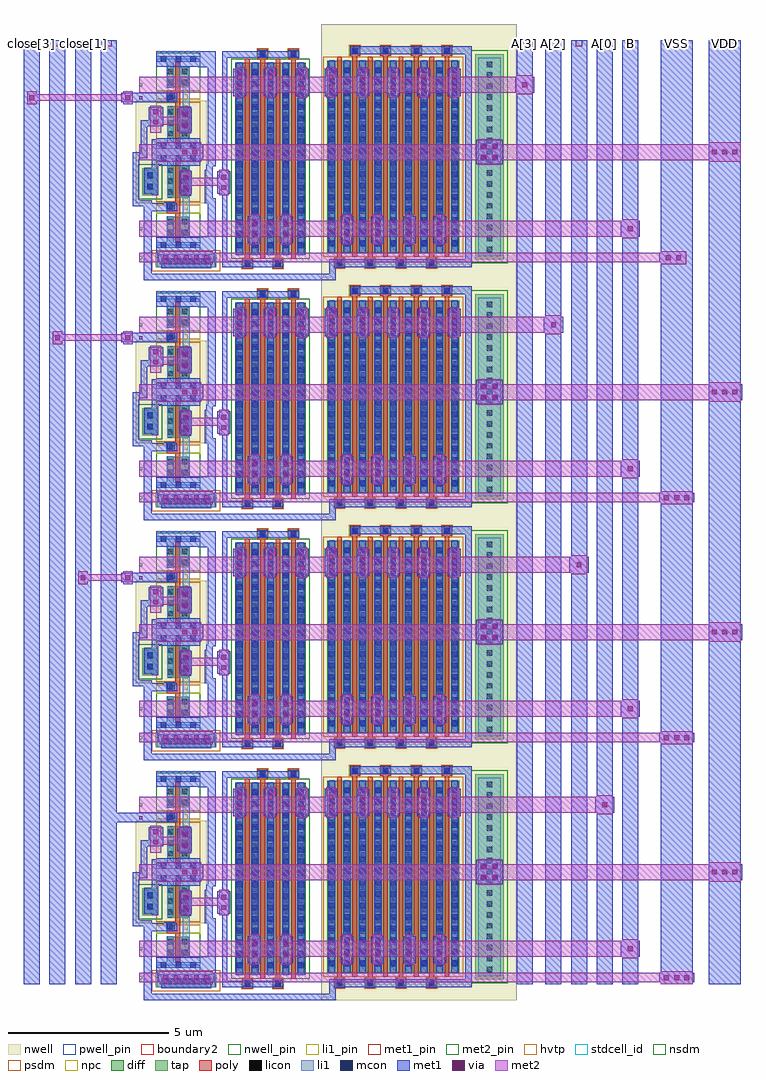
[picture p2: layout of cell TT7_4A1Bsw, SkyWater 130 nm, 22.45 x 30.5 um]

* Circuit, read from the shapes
.subckt TT7_4A1Bsw A[0] A[1] A[2] A[3] B VDD VSS close[0] close[1] close[2] close[3]
XM1 TT7_sw_2/sky130_fd_sc_hd__inv_1_1/Y TT7_sw_2/sky130_fd_sc_hd__inv_1_1/A VSS VSS sky130_fd_pr__nfet_01v8 w=0.65 l=0.15
XM2 TT7_sw_2/sky130_fd_sc_hd__inv_1_1/A close[0] VSS VSS sky130_fd_pr__nfet_01v8 w=0.65 l=0.15
XM3 TT7_sw_1/sky130_fd_sc_hd__inv_1_1/Y TT7_sw_1/sky130_fd_sc_hd__inv_1_1/A VSS VSS sky130_fd_pr__nfet_01v8 w=0.65 l=0.15
XM4 TT7_sw_1/sky130_fd_sc_hd__inv_1_1/A close[1] VSS VSS sky130_fd_pr__nfet_01v8 w=0.65 l=0.15
XM5 TT7_sw_0/sky130_fd_sc_hd__inv_1_1/Y TT7_sw_0/sky130_fd_sc_hd__inv_1_1/A VSS VSS sky130_fd_pr__nfet_01v8 w=0.65 l=0.15
XM6 TT7_sw_0/sky130_fd_sc_hd__inv_1_1/A close[2] VSS VSS sky130_fd_pr__nfet_01v8 w=0.65 l=0.15
XM7 TT7_sw_3/sky130_fd_sc_hd__inv_1_1/Y TT7_sw_3/sky130_fd_sc_hd__inv_1_1/A VSS VSS sky130_fd_pr__nfet_01v8 w=0.65 l=0.15
XM8 TT7_sw_3/sky130_fd_sc_hd__inv_1_1/A close[3] VSS VSS sky130_fd_pr__nfet_01v8 w=0.65 l=0.15
XM9 B TT7_sw_2/sky130_fd_sc_hd__inv_1_1/Y A[0] VSS sky130_fd_pr__nfet_01v8 w=6 l=0.15 m=4
XM10 B TT7_sw_1/sky130_fd_sc_hd__inv_1_1/Y A[1] VSS sky130_fd_pr__nfet_01v8 w=6 l=0.15 m=4
XM11 B TT7_sw_0/sky130_fd_sc_hd__inv_1_1/Y A[2] VSS sky130_fd_pr__nfet_01v8 w=6 l=0.15 m=4
XM12 B TT7_sw_3/sky130_fd_sc_hd__inv_1_1/Y A[3] VSS sky130_fd_pr__nfet_01v8 w=6 l=0.15 m=4
XM13 TT7_sw_2/sky130_fd_sc_hd__inv_1_1/Y TT7_sw_2/sky130_fd_sc_hd__inv_1_1/A VDD VDD sky130_fd_pr__pfet_01v8_hvt w=1 l=0.15
XM14 TT7_sw_2/sky130_fd_sc_hd__inv_1_1/A close[0] VDD VDD sky130_fd_pr__pfet_01v8_hvt w=1 l=0.15
XM15 TT7_sw_1/sky130_fd_sc_hd__inv_1_1/Y TT7_sw_1/sky130_fd_sc_hd__inv_1_1/A VDD VDD sky130_fd_pr__pfet_01v8_hvt w=1 l=0.15
XM16 TT7_sw_1/sky130_fd_sc_hd__inv_1_1/A close[1] VDD VDD sky130_fd_pr__pfet_01v8_hvt w=1 l=0.15
XM17 TT7_sw_0/sky130_fd_sc_hd__inv_1_1/Y TT7_sw_0/sky130_fd_sc_hd__inv_1_1/A VDD VDD sky130_fd_pr__pfet_01v8_hvt w=1 l=0.15
XM18 TT7_sw_0/sky130_fd_sc_hd__inv_1_1/A close[2] VDD VDD sky130_fd_pr__pfet_01v8_hvt w=1 l=0.15
XM19 TT7_sw_3/sky130_fd_sc_hd__inv_1_1/Y TT7_sw_3/sky130_fd_sc_hd__inv_1_1/A VDD VDD sky130_fd_pr__pfet_01v8_hvt w=1 l=0.15
XM20 TT7_sw_3/sky130_fd_sc_hd__inv_1_1/A close[3] VDD VDD sky130_fd_pr__pfet_01v8_hvt w=1 l=0.15
XM21 B TT7_sw_2/sky130_fd_sc_hd__inv_1_1/A A[0] VDD sky130_fd_pr__pfet_01v8 w=6 l=0.15 m=8
XM22 B TT7_sw_1/sky130_fd_sc_hd__inv_1_1/A A[1] VDD sky130_fd_pr__pfet_01v8 w=6 l=0.15 m=8
XM23 B TT7_sw_0/sky130_fd_sc_hd__inv_1_1/A A[2] VDD sky130_fd_pr__pfet_01v8 w=6 l=0.15 m=8
XM24 B TT7_sw_3/sky130_fd_sc_hd__inv_1_1/A A[3] VDD sky130_fd_pr__pfet_01v8 w=6 l=0.15 m=8
.ends

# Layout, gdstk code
import gdstk
lib = gdstk.Library(unit=1e-6, precision=1e-09)
def R(c, l, rs):  # rectangles x0, y0, x1, y1
    for r in rs: c.add(gdstk.rectangle(r[:2], r[2:], *l))
def A(c, l, x, y, w, h, nx, ny, dx, dy):  # array of equal rectangles
    R(c, l, [(x+i*dx, y+j*dy, x+i*dx+w, y+j*dy+h) for i in range(nx) for j in range(ny)])
def P(c, l, *ps):  # polygons
    for p in ps: c.add(gdstk.Polygon(p, *l))
nwell_pin = (64, 16)
nwell = (64, 20)
diff = (65, 20)
tap = (65, 44)
poly = (66, 20)
licon = (66, 44)
li1_pin = (67, 16)
li1 = (67, 20)
mcon = (67, 44)
met1_pin = (68, 16)
met1 = (68, 20)
via = (68, 44)
met2_pin = (69, 16)
met2 = (69, 20)
hvtp = (78, 44)
stdcell_id = (81, 4)
nsdm = (93, 44)
psdm = (94, 20)
npc = (95, 20)
pwell_pin = (122, 16)
boundary2 = (236, 0)

sky130_fd_sc_hd__inv_1 = lib.new_cell('sky130_fd_sc_hd__inv_1')
R(sky130_fd_sc_hd__inv_1, nwell_pin, [(0.145,2.635,0.315,2.805), (0.145,2.635,0.315,2.805)])
R(sky130_fd_sc_hd__inv_1, nwell, [(-0.19,1.305,1.57,2.91)])
R(sky130_fd_sc_hd__inv_1, diff, [(0.34,0.235,1.01,0.885), (0.34,1.485,1.01,2.485)])
P(sky130_fd_sc_hd__inv_1, poly, [(0.6,0.105),(0.6,0.995),(0.32,0.995),(0.32,1.325),(0.6,1.325),(0.6,2.615),(0.75,2.615),(0.75,0.105)])
A(sky130_fd_sc_hd__inv_1, licon, 0.38, 1.575, 0.17, 0.17, 1, 3, 0, 0.34)
A(sky130_fd_sc_hd__inv_1, licon, 0.8, 1.575, 0.17, 0.17, 1, 3, 0, 0.34)
R(sky130_fd_sc_hd__inv_1, licon, [(0.38,0.315,0.55,0.485), (0.8,0.315,0.97,0.485), (0.38,0.655,0.55,0.825), (0.8,0.655,0.97,0.825), (0.4,1.075,0.57,1.245)])
R(sky130_fd_sc_hd__inv_1, li1_pin, [(0.36,1.105,0.53,1.275), (0.82,1.105,0.99,1.275), (0.82,1.445,0.99,1.615)])
R(sky130_fd_sc_hd__inv_1, li1, [(0,-0.085,1.38,0.085), (0.32,0.005,0.55,0.905), (0.32,1.075,0.65,1.315), (0.34,1.495,0.55,2.675), (0,2.635,1.38,2.805)])
P(sky130_fd_sc_hd__inv_1, li1, [(0.72,0.255),(0.72,0.885),(0.82,0.885),(0.82,1.485),(0.72,1.485),(0.72,2.465),(1.05,2.465),(1.05,0.255)])
A(sky130_fd_sc_hd__inv_1, mcon, 0.145, -0.085, 0.17, 0.17, 3, 2, 0.46, 2.72)
R(sky130_fd_sc_hd__inv_1, met1_pin, [(0.145,-0.085,0.315,0.085), (0.145,-0.085,0.315,0.085), (0.145,2.635,0.315,2.805), (0.145,2.635,0.315,2.805)])
R(sky130_fd_sc_hd__inv_1, hvtp, [(0,1.25,1.38,2.72)])
R(sky130_fd_sc_hd__inv_1, stdcell_id, [(0,0,1.38,2.72)])
R(sky130_fd_sc_hd__inv_1, nsdm, [(0,-0.19,1.38,1.015)])
R(sky130_fd_sc_hd__inv_1, psdm, [(0,1.355,1.38,2.91)])
R(sky130_fd_sc_hd__inv_1, npc, [(0,0.975,1.38,1.345)])
R(sky130_fd_sc_hd__inv_1, pwell_pin, [(0.145,-0.085,0.315,0.085), (0.145,-0.085,0.315,0.085)])
R(sky130_fd_sc_hd__inv_1, boundary2, [(0,0,1.38,2.72)])
sky130_fd_sc_hd__inv_1.add(gdstk.FlexPath([(0,2.72),(1.38,2.72)], 0.48, ends="flush", simple_path=True, layer=68, datatype=20))  # met1
sky130_fd_sc_hd__inv_1.add(gdstk.FlexPath([(0,0),(1.38,0)], 0.48, ends="flush", simple_path=True, layer=68, datatype=20))  # met1
sky130_fd_sc_hd__inv_1.add(gdstk.Label('VGND', (0.23,0), layer=68, texttype=5))
sky130_fd_sc_hd__inv_1.add(gdstk.Label('VPWR', (0.23,2.72), layer=68, texttype=5))
sky130_fd_sc_hd__inv_1.add(gdstk.Label('VPB', (0.23,2.72), layer=64, texttype=5))
sky130_fd_sc_hd__inv_1.add(gdstk.Label('VNB', (0.23,0), layer=64, texttype=59))
sky130_fd_sc_hd__inv_1.add(gdstk.Label('inv_1', (0,0), layer=83, texttype=44))
sky130_fd_sc_hd__inv_1.add(gdstk.Label('Y', (0.905,1.53), layer=67, texttype=5))
sky130_fd_sc_hd__inv_1.add(gdstk.Label('Y', (0.905,1.19), layer=67, texttype=5))
sky130_fd_sc_hd__inv_1.add(gdstk.Label('A', (0.445,1.19), layer=67, texttype=5))

sky130_fd_pr__pfet_01v8_ = lib.new_cell('sky130_fd_pr__pfet_01v8_VXP9C9')
R(sky130_fd_pr__pfet_01v8_, nwell, [(-2.245,-3.5,1.765,-3.31), (-2.245,-3.31,2.245,3.31), (-1.765,3.31,2.245,3.5)])
R(sky130_fd_pr__pfet_01v8_, diff, [(-2.065,-3,2.065,3)])
A(sky130_fd_pr__pfet_01v8_, poly, -1.845, -3.485, 0.33, 0.33, 4, 1, 0.96, 0)
A(sky130_fd_pr__pfet_01v8_, poly, -1.755, -3.155, 0.15, 6.285, 4, 1, 0.96, 0)
A(sky130_fd_pr__pfet_01v8_, poly, -1.275, -3.13, 0.15, 6.285, 4, 1, 0.96, 0)
A(sky130_fd_pr__pfet_01v8_, poly, -1.365, 3.155, 0.33, 0.33, 4, 1, 0.96, 0)
A(sky130_fd_pr__pfet_01v8_, licon, -1.765, -3.405, 0.17, 0.17, 4, 1, 0.96, 0)
A(sky130_fd_pr__pfet_01v8_, licon, -2.005, -2.805, 0.17, 0.17, 9, 17, 0.48, 0.34)
A(sky130_fd_pr__pfet_01v8_, licon, -1.285, 3.235, 0.17, 0.17, 4, 1, 0.96, 0)
A(sky130_fd_pr__pfet_01v8_, li1, -1.845, -3.405, 0.33, 0.17, 4, 1, 0.96, 0)
A(sky130_fd_pr__pfet_01v8_, li1, -2.005, -3.02, 0.17, 6.04, 9, 1, 0.48, 0)
A(sky130_fd_pr__pfet_01v8_, li1, -1.365, 3.235, 0.33, 0.17, 4, 1, 0.96, 0)
A(sky130_fd_pr__pfet_01v8_, mcon, -1.765, -3.405, 0.17, 0.17, 4, 1, 0.96, 0)
A(sky130_fd_pr__pfet_01v8_, mcon, -2.005, -2.785, 0.17, 0.17, 9, 16, 0.48, 0.36)
A(sky130_fd_pr__pfet_01v8_, mcon, -1.285, 3.235, 0.17, 0.17, 4, 1, 0.96, 0)
A(sky130_fd_pr__pfet_01v8_, met1, -1.825, -3.435, 0.29, 0.23, 4, 1, 0.96, 0)
A(sky130_fd_pr__pfet_01v8_, met1, -2.035, -3, 0.23, 6, 9, 1, 0.48, 0)
A(sky130_fd_pr__pfet_01v8_, met1, -1.345, 3.205, 0.29, 0.23, 4, 1, 0.96, 0)
R(sky130_fd_pr__pfet_01v8_, psdm, [(-2.19,-3.125,2.19,3.125)])
A(sky130_fd_pr__pfet_01v8_, npc, -1.865, -3.505, 0.37, 0.37, 4, 1, 0.96, 0)
A(sky130_fd_pr__pfet_01v8_, npc, -1.385, 3.135, 0.37, 0.37, 4, 1, 0.96, 0)

sky130_fd_pr__nfet_01v8_ = lib.new_cell('sky130_fd_pr__nfet_01v8_BGWAYC')
R(sky130_fd_pr__nfet_01v8_, diff, [(-1.105,-3,1.105,3)])
R(sky130_fd_pr__nfet_01v8_, poly, [(-0.885,-3.44,-0.555,-3.11), (0.075,-3.44,0.405,-3.11), (-0.315,-3.13,-0.165,3.11), (0.645,-3.13,0.795,3.11), (-0.795,-3.11,-0.645,3.13), (0.165,-3.11,0.315,3.13), (-0.405,3.11,-0.075,3.44), (0.555,3.11,0.885,3.44)])
A(sky130_fd_pr__nfet_01v8_, licon, -1.045, -2.805, 0.17, 0.17, 5, 17, 0.48, 0.34)
R(sky130_fd_pr__nfet_01v8_, licon, [(-0.805,-3.36,-0.635,-3.19), (0.155,-3.36,0.325,-3.19), (-0.325,3.19,-0.155,3.36), (0.635,3.19,0.805,3.36)])
A(sky130_fd_pr__nfet_01v8_, li1, -1.045, -3.02, 0.17, 6.04, 5, 1, 0.48, 0)
R(sky130_fd_pr__nfet_01v8_, li1, [(-0.885,-3.36,-0.555,-3.19), (0.075,-3.36,0.405,-3.19), (-0.405,3.19,-0.075,3.36), (0.555,3.19,0.885,3.36)])
A(sky130_fd_pr__nfet_01v8_, mcon, -1.045, -2.785, 0.17, 0.17, 5, 16, 0.48, 0.36)
R(sky130_fd_pr__nfet_01v8_, mcon, [(-0.805,-3.36,-0.635,-3.19), (0.155,-3.36,0.325,-3.19), (-0.325,3.19,-0.155,3.36), (0.635,3.19,0.805,3.36)])
A(sky130_fd_pr__nfet_01v8_, met1, -1.075, -3, 0.23, 6, 5, 1, 0.48, 0)
R(sky130_fd_pr__nfet_01v8_, met1, [(-0.865,-3.39,-0.575,-3.16), (0.095,-3.39,0.385,-3.16), (-0.385,3.16,-0.095,3.39), (0.575,3.16,0.865,3.39)])
R(sky130_fd_pr__nfet_01v8_, nsdm, [(-1.23,-3.125,1.23,3.125)])
R(sky130_fd_pr__nfet_01v8_, npc, [(-0.905,-3.46,-0.535,-3.09), (0.055,-3.46,0.425,-3.09), (-0.425,3.09,-0.055,3.46), (0.535,3.09,0.905,3.46)])

tt7_sw = lib.new_cell('TT7_sw')
R(tt7_sw, nwell, [(1.7,0,7.7,5.4), (-4.1,2.045,-3.65,2.25), (-4.1,2.25,-3.25,3.2), (-4.1,3.2,-3.65,5.255), (1.7,5.4,6,6.25), (6.15,5.4,7.7,6.7), (1.7,6.25,6.05,6.7), (1.7,6.7,7.7,7)])
R(tt7_sw, tap, [(-3.47,0.05,-1.58,0.45), (6.5,0.3,7.4,6.7), (-3.9,2.3,-3.4,3.15)])
A(tt7_sw, licon, -3.29, 0.165, 0.17, 0.17, 5, 1, 0.34, 0)
A(tt7_sw, licon, 6.865, 0.525, 0.17, 0.17, 1, 18, 0, 0.34)
R(tt7_sw, licon, [(-3.735,2.47,-3.565,2.64), (-3.735,2.81,-3.565,2.98)])
R(tt7_sw, li1, [(-3.43,0.05,-1.62,0.45), (6.6,0.4,7.3,6.6), (-3.15,1.85,-2.95,2.05), (-3.85,2.35,-3.45,3.1), (-2.65,2.35,-2.4,3), (-2.7,4.3,-2.4,5), (-3.15,5.25,-2.9,5.45)])
A(tt7_sw, mcon, -3.15, 0.165, 0.17, 0.17, 4, 1, 0.36, 0)
R(tt7_sw, mcon, [(-3.135,1.865,-2.965,2.035), (-2.61,2.41,-2.44,2.58), (-3.735,2.485,-3.565,2.655), (-2.61,2.77,-2.44,2.94), (-3.735,2.845,-3.565,3.015), (6.685,3.385,6.855,3.555), (7.045,3.385,7.215,3.555), (6.685,3.745,6.855,3.915), (7.045,3.745,7.215,3.915), (-2.635,4.385,-2.465,4.555), (-2.635,4.745,-2.465,4.915), (-3.11,5.265,-2.94,5.435)])
R(tt7_sw, met1_pin, [(-4,5.3,-3.9,5.4)])
A(tt7_sw, met1, 2.8, 5.4, 0.4, 0.85, 4, 1, 0.95, 0)
R(tt7_sw, met1, [(-3.85,-0.35,2.15,-0.15), (-3.85,-0.15,-3.6,1.8), (1.95,-0.15,2.15,0.05), (-3.31,0.02,-1.74,0.2), (-1.4,0.05,0.5,0.25), (1.95,0.05,6.4,0.3), (-3.4,0.2,-1.65,0.5), (-1.4,0.25,-1.25,2.35), (6.2,0.3,6.4,6.7), (-2.1,0.5,-1.6,1), (-0.6,0.8,-0.2,1.65), (0.4,0.8,0.8,1.65), (2.3,0.8,2.7,1.65), (3.25,0.8,3.65,1.65), (4.25,0.8,4.65,1.65), (5.2,0.8,5.6,1.65), (-1.85,1,-1.6,2.05), (-3.85,1.8,-2.8,1.95), (-4.2,1.95,-2.8,2.05), (-4.2,2.05,-3.6,2.15), (-3.21,2.05,-2.89,2.08), (-1.95,2.05,-1.6,2.2), (-4.2,2.15,-4,3.45), (-1.95,2.2,-1.7,3.1), (-2.68,2.29,-2.37,2.35), (-3.6,2.3,-3.4,2.34), (-3.83,2.34,-3.4,3.16), (-2.75,2.35,-2.35,3.05), (-1.55,2.35,-1.15,3.05), (-2.68,3.05,-2.37,3.06), (-1.4,3.05,-1.25,6.6), (-1.9,3.1,-1.7,3.2), (-3.6,3.16,-3.4,4.05), (-1.9,3.2,-1.6,3.25), (-1.85,3.25,-1.6,6.3), (6.54,3.27,7.36,4.03), (-2.775,3.4,-2,3.9), (-4.2,3.45,-3.75,3.65), (-3.95,3.65,-3.75,4.45), (-2.73,4.24,-2.37,4.3), (-2.8,4.3,-2.35,5), (-3.95,4.45,-3.25,4.65), (-3.7,4.65,-3.25,5.05), (-2.73,5,-2.37,5.06), (-4,5.2,-2.8,5.5), (-1.05,5.4,-0.65,6.25), (-0.1,5.4,0.3,6.25), (0.9,5.4,1.3,6.25), (1.8,5.4,2.2,6.25), (-2.15,6.3,-1.6,6.8), (-1.4,6.6,1,6.8), (2.6,6.7,6.4,6.95)])
A(tt7_sw, via, -3.24, 0.275, 0.15, 0.15, 5, 1, 0.32, 0)
A(tt7_sw, via, 2.925, 5.59, 0.15, 0.15, 4, 2, 0.95, 0.32)
R(tt7_sw, via, [(-0.475,0.99,-0.325,1.14), (0.525,0.99,0.675,1.14), (2.425,0.99,2.575,1.14), (3.375,0.99,3.525,1.14), (4.375,0.99,4.525,1.14), (5.325,0.99,5.475,1.14), (-0.475,1.31,-0.325,1.46), (0.525,1.31,0.675,1.46), (2.425,1.31,2.575,1.46), (3.375,1.31,3.525,1.46), (4.375,1.31,4.525,1.46), (5.325,1.31,5.475,1.46), (-2.625,2.465,-2.475,2.615), (-1.425,2.465,-1.275,2.615), (-2.625,2.785,-2.475,2.935), (-1.425,2.785,-1.275,2.935), (6.715,3.415,6.865,3.565), (7.035,3.415,7.185,3.565), (-2.65,3.575,-2.5,3.725), (-2.33,3.575,-2.18,3.725), (6.715,3.735,6.865,3.885), (7.035,3.735,7.185,3.885), (-2.65,4.415,-2.5,4.565), (-3.55,4.515,-3.4,4.665), (-2.65,4.735,-2.5,4.885), (-3.55,4.835,-3.4,4.985), (-0.925,5.59,-0.775,5.74), (0.025,5.59,0.175,5.74), (1.025,5.59,1.175,5.74), (1.925,5.59,2.075,5.74), (-0.925,5.91,-0.775,6.06), (0.025,5.91,0.175,6.06), (1.025,5.91,1.175,6.06), (1.925,5.91,2.075,6.06)])
R(tt7_sw, met2_pin, [(-4,0.3,-3.9,0.4), (-4,1.2,-3.9,1.3), (-4,3.6,-3.9,3.7), (-4,5.7,-3.9,5.8)])
A(tt7_sw, met2, 2.85, 5.35, 0.3, 0.15, 4, 1, 0.95, 0)
A(tt7_sw, met2, 2.85, 6, 0.3, 0.3, 4, 1, 0.95, 0)
R(tt7_sw, met2, [(-3.35,0.15,-1.7,0.2), (-4,0.2,7.7,0.5), (-3.35,0.5,-1.7,0.55), (-0.55,0.75,-0.25,1), (0.45,0.75,0.75,1), (2.35,0.75,2.65,1), (3.3,0.75,3.6,1), (4.3,0.75,4.6,1), (5.25,0.75,5.55,1), (-4,1,7.7,1.5), (-0.55,1.5,-0.25,1.7), (0.45,1.5,0.75,1.7), (2.35,1.5,2.65,1.7), (3.3,1.5,3.6,1.7), (4.3,1.5,4.6,1.7), (5.25,1.5,5.55,1.7), (-2.7,2.3,-2.4,2.6), (-1.5,2.3,-1.2,2.6), (-2.7,2.6,-1.2,2.85), (-2.7,2.85,-2.4,3.1), (-1.5,2.85,-1.2,3.1), (6.6,3.25,7.3,3.4), (-3.45,3.35,-2.05,3.4), (-4,3.4,7.7,3.9), (-3.45,3.9,-2.05,3.95), (6.6,3.9,7.3,4.05), (-3.65,4.25,-3.3,4.5), (-2.75,4.25,-2.4,4.5), (-3.65,4.5,-2.4,4.75), (-3.65,4.75,-3.3,5.1), (-2.75,4.75,-2.4,5.05), (-1,5.35,-0.7,5.5), (-0.05,5.35,0.25,5.5), (0.95,5.35,1.25,5.5), (1.85,5.35,2.15,5.5), (-4,5.5,7.7,6), (-1,6,-0.7,6.3), (-0.05,6,0.25,6.3), (0.95,6,1.25,6.3), (1.85,6,2.15,6.3)])
R(tt7_sw, nsdm, [(6.375,0.175,7.525,6.825), (-4.025,2.175,-3.275,3.275)])
R(tt7_sw, psdm, [(-3.595,-0.075,-1.455,0.575)])
tt7_sw.add(gdstk.Reference(sky130_fd_sc_hd__inv_1, (-3.46,6.56), x_reflection=True))
tt7_sw.add(gdstk.Reference(sky130_fd_sc_hd__inv_1, (-3.46,0.74)))
tt7_sw.add(gdstk.Reference(sky130_fd_pr__pfet_01v8_, (3.945,3.5)))
tt7_sw.add(gdstk.Reference(sky130_fd_pr__nfet_01v8_, (0.105,3.44)))
tt7_sw.add(gdstk.Label('close', (-3.95,5.35), layer=68, texttype=5))
tt7_sw.add(gdstk.Label('A', (-3.95,5.75), layer=69, texttype=5))
tt7_sw.add(gdstk.Label('B', (-3.95,1.25), layer=69, texttype=5))
tt7_sw.add(gdstk.Label('VSS', (-3.95,0.35), layer=69, texttype=5))
tt7_sw.add(gdstk.Label('VDD', (-3.95,3.65), layer=69, texttype=5))

tt7_4a1bsw = lib.new_cell('TT7_4A1Bsw')
R(tt7_4a1bsw, nwell, [(5.9,0,12,30.5)])
A(tt7_4a1bsw, met1_pin, -3.25, 29.8, 0.2, 0.2, 4, 1, 0.8, 0)
A(tt7_4a1bsw, met1_pin, 13.05, 29.8, 0.2, 0.2, 4, 1, 0.8, 0)
R(tt7_4a1bsw, met1_pin, [(12.15,29.8,12.35,30), (16.9,29.8,17.1,30), (18.4,29.8,18.6,30)])
A(tt7_4a1bsw, met1, -3.4, 0.5, 0.5, 29.5, 3, 1, 0.8, 0)
A(tt7_4a1bsw, met1, 16.45, 0.55, 1.1, 0.3, 1, 3, 0, 7.5)
A(tt7_4a1bsw, met1, 16.5, 0.85, 1, 7.2, 1, 3, 0, 7.5)
A(tt7_4a1bsw, met1, 15.25, 1.35, 0.6, 0.5, 1, 4, 0, 7.5)
A(tt7_4a1bsw, met1, 15.3, 1.85, 0.5, 7, 1, 3, 0, 7.5)
A(tt7_4a1bsw, met1, 18, 3.75, 1.05, 0.5, 1, 3, 0, 7.5)
A(tt7_4a1bsw, met1, -0.35, 13.05, 0.55, 0.3, 1, 3, 0, 7.5)
R(tt7_4a1bsw, met1, [(-1,0.5,-0.5,5.55), (12,0.5,12.5,28.35), (12.9,0.5,13.4,20.85), (13.7,0.5,14.2,13.35), (14.5,0.5,15,5.85), (15.3,0.5,15.8,1.35), (16.5,0.5,17.5,0.55), (18,0.5,19,3.75), (18,4.25,19,11.25), (-1,5.55,0.2,5.85), (-1,5.85,-0.5,30), (14.45,5.85,15.05,6.35), (14.5,6.35,15,30), (18,11.75,19,18.75), (13.65,13.35,14.25,13.85), (13.7,13.85,14.2,30), (18,19.25,19,30), (12.85,20.85,13.45,21.35), (12.9,21.35,13.4,30), (16.45,23.05,17.5,23.35), (16.5,23.35,17.5,30), (15.3,24.35,15.8,30), (11.95,28.35,12.55,28.85), (12,28.85,12.5,30)])
A(tt7_4a1bsw, via, 16.605, 0.625, 0.15, 0.15, 3, 3, 0.32, 7.5)
A(tt7_4a1bsw, via, 15.475, 1.525, 0.15, 0.15, 1, 4, 0, 7.5)
A(tt7_4a1bsw, via, 18.105, 3.925, 0.15, 0.15, 3, 4, 0.32, 7.5)
A(tt7_4a1bsw, via, -0.225, 13.125, 0.15, 0.15, 1, 3, 0, 7.5)
R(tt7_4a1bsw, via, [(14.675,6.025,14.825,6.175), (-1.625,13.125,-1.475,13.275), (13.875,13.525,14.025,13.675), (-2.425,20.625,-2.275,20.775), (13.075,21.025,13.225,21.175), (16.665,23.125,16.815,23.275), (16.985,23.125,17.135,23.275), (-3.225,28.125,-3.075,28.275), (12.175,28.525,12.325,28.675)])
A(tt7_4a1bsw, met2, 11.9, 0.55, 5.6, 0.3, 1, 3, 0, 7.5)
A(tt7_4a1bsw, met2, 11.9, 3.75, 7.1, 0.5, 1, 4, 0, 7.5)
A(tt7_4a1bsw, met2, 11.9, 8.85, 3.9, 0.5, 1, 3, 0, 7.5)
R(tt7_4a1bsw, met2, [(16.5,0.5,17.5,0.55), (16.5,0.85,17.5,0.9), (15.3,1.3,15.8,1.35), (9.35,1.35,15.8,1.85), (15.3,1.85,15.8,1.9), (18,3.7,19,3.75), (18,4.25,19,4.3), (14.5,5.8,15,5.85), (9.75,5.85,15,6.35), (14.5,6.35,15,6.4), (16.5,8,17.5,8.05), (16.5,8.35,17.5,8.4), (15.3,8.8,15.8,8.85), (15.3,9.35,15.8,9.4), (18,11.2,19,11.25), (18,11.75,19,11.8), (-1.7,13,-1.4,13.1), (-0.3,13,0,13.1), (-1.7,13.1,0,13.3), (-1.7,13.3,-1.4,13.4), (-0.3,13.3,0,13.4), (13.7,13.3,14.2,13.35), (9.75,13.35,14.2,13.85), (13.7,13.85,14.2,13.9), (16.5,15.5,17.5,15.55), (16.5,15.85,17.5,15.9), (15.3,16.3,15.8,16.35), (15.3,16.85,15.8,16.9), (18,18.7,19,18.75), (18,19.25,19,19.3), (-2.5,20.5,-2.2,20.6), (-0.3,20.5,0,20.6), (-2.5,20.6,0,20.8), (-2.5,20.8,-2.2,20.9), (-0.3,20.8,0,20.9), (12.9,20.8,13.4,20.85), (9.75,20.85,13.4,21.35), (12.9,21.35,13.4,21.4), (16.5,23,17.3,23.05), (11.9,23.05,17.3,23.35), (16.5,23.35,17.3,23.4), (15.3,23.8,15.8,23.85), (15.3,24.35,15.8,24.4), (18,26.2,19,26.25), (18,26.75,19,26.8), (-3.3,28,-3,28.1), (-0.3,28,0,28.1), (-3.3,28.1,0,28.3), (-3.3,28.3,-3,28.4), (-0.3,28.3,0,28.4), (12,28.3,12.5,28.35), (9.85,28.35,12.5,28.85), (12,28.85,12.5,28.9)])
tt7_4a1bsw.add(gdstk.Reference(tt7_sw, (4.2,15.35)))
tt7_4a1bsw.add(gdstk.Reference(tt7_sw, (4.2,7.85)))
tt7_4a1bsw.add(gdstk.Reference(tt7_sw, (4.2,0.35)))
tt7_4a1bsw.add(gdstk.Reference(tt7_sw, (4.2,22.85)))
tt7_4a1bsw.add(gdstk.Label('close[3]', (-3.15,29.9), layer=68, texttype=5))
tt7_4a1bsw.add(gdstk.Label('close[2]', (-2.35,29.9), layer=68, texttype=5))
tt7_4a1bsw.add(gdstk.Label('close[1]', (-1.55,29.9), layer=68, texttype=5))
tt7_4a1bsw.add(gdstk.Label('close[0]', (-0.75,29.9), layer=68, texttype=5))
tt7_4a1bsw.add(gdstk.Label('A[3]', (12.25,29.9), layer=68, texttype=5))
tt7_4a1bsw.add(gdstk.Label('A[2]', (13.15,29.9), layer=68, texttype=5))
tt7_4a1bsw.add(gdstk.Label('A[1]', (13.95,29.9), layer=68, texttype=5))
tt7_4a1bsw.add(gdstk.Label('A[0]', (14.75,29.9), layer=68, texttype=5))
tt7_4a1bsw.add(gdstk.Label('B', (15.55,29.9), layer=68, texttype=5))
tt7_4a1bsw.add(gdstk.Label('VSS', (17,29.9), layer=68, texttype=5))
tt7_4a1bsw.add(gdstk.Label('VDD', (18.5,29.9), layer=68, texttype=5))

lib.write_gds('TT7_4A1Bsw.gds')
